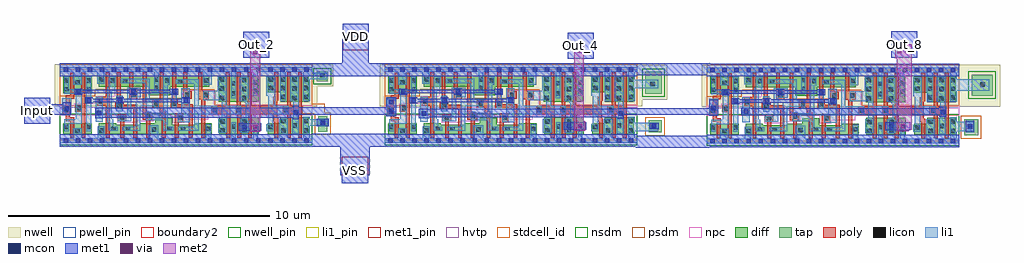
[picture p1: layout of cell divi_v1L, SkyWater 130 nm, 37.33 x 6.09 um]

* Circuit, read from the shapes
.subckt divi_v1L Input Out_2 Out_4 Out_8 VDD VSS
XM1 VSS Input n1 VSS sky130_fd_pr__nfet_01v8 w=0.42 l=0.15
XM2 n2 n1 VSS VSS sky130_fd_pr__nfet_01v8 w=0.42 l=0.15
XM3 n3 sky130_fd_sc_hd__dfxbp_2_1/CLK VSS VSS sky130_fd_pr__nfet_01v8 w=0.42 l=0.15
XM4 n4 n1 n3 VSS sky130_fd_pr__nfet_01v8 w=0.36 l=0.15
XM5 n5 n2 n4 VSS sky130_fd_pr__nfet_01v8 w=0.36 l=0.15
XM6 VSS n6 n5 VSS sky130_fd_pr__nfet_01v8 w=0.42 l=0.15
XM7 n6 n4 VSS VSS sky130_fd_pr__nfet_01v8 w=0.64 l=0.15
XM8 n7 n2 n6 VSS sky130_fd_pr__nfet_01v8 w=0.36 l=0.15
XM9 n8 n1 n7 VSS sky130_fd_pr__nfet_01v8 w=0.36 l=0.15
XM10 VSS n9 n8 VSS sky130_fd_pr__nfet_01v8 w=0.42 l=0.15
XM11 VSS n7 n9 VSS sky130_fd_pr__nfet_01v8 w=0.65 l=0.15
XM12 Out_2 n9 VSS VSS sky130_fd_pr__nfet_01v8 w=0.65 l=0.15 m=2
XM13 VSS n9 n10 VSS sky130_fd_pr__nfet_01v8 w=0.42 l=0.15
XM14 sky130_fd_sc_hd__dfxbp_2_1/CLK n10 VSS VSS sky130_fd_pr__nfet_01v8 w=0.65 l=0.15 m=2
XM15 VSS sky130_fd_sc_hd__dfxbp_2_1/CLK n11 VSS sky130_fd_pr__nfet_01v8 w=0.42 l=0.15
XM16 n12 n11 VSS VSS sky130_fd_pr__nfet_01v8 w=0.42 l=0.15
XM17 n13 sky130_fd_sc_hd__dfxbp_2_2/CLK VSS VSS sky130_fd_pr__nfet_01v8 w=0.42 l=0.15
XM18 n14 n11 n13 VSS sky130_fd_pr__nfet_01v8 w=0.36 l=0.15
XM19 n15 n12 n14 VSS sky130_fd_pr__nfet_01v8 w=0.36 l=0.15
XM20 VSS n16 n15 VSS sky130_fd_pr__nfet_01v8 w=0.42 l=0.15
XM21 n16 n14 VSS VSS sky130_fd_pr__nfet_01v8 w=0.64 l=0.15
XM22 n17 n12 n16 VSS sky130_fd_pr__nfet_01v8 w=0.36 l=0.15
XM23 n18 n11 n17 VSS sky130_fd_pr__nfet_01v8 w=0.36 l=0.15
XM24 VSS n19 n18 VSS sky130_fd_pr__nfet_01v8 w=0.42 l=0.15
XM25 VSS n17 n19 VSS sky130_fd_pr__nfet_01v8 w=0.65 l=0.15
XM26 Out_4 n19 VSS VSS sky130_fd_pr__nfet_01v8 w=0.65 l=0.15 m=2
XM27 VSS n19 n20 VSS sky130_fd_pr__nfet_01v8 w=0.42 l=0.15
XM28 sky130_fd_sc_hd__dfxbp_2_2/CLK n20 VSS VSS sky130_fd_pr__nfet_01v8 w=0.65 l=0.15 m=2
XM29 VSS sky130_fd_sc_hd__dfxbp_2_2/CLK n21 VSS sky130_fd_pr__nfet_01v8 w=0.42 l=0.15
XM30 n22 n21 VSS VSS sky130_fd_pr__nfet_01v8 w=0.42 l=0.15
XM31 n23 sky130_fd_sc_hd__dfxbp_2_2/D VSS VSS sky130_fd_pr__nfet_01v8 w=0.42 l=0.15
XM32 n24 n21 n23 VSS sky130_fd_pr__nfet_01v8 w=0.36 l=0.15
XM33 n25 n22 n24 VSS sky130_fd_pr__nfet_01v8 w=0.36 l=0.15
XM34 VSS n26 n25 VSS sky130_fd_pr__nfet_01v8 w=0.42 l=0.15
XM35 n26 n24 VSS VSS sky130_fd_pr__nfet_01v8 w=0.64 l=0.15
XM36 n27 n22 n26 VSS sky130_fd_pr__nfet_01v8 w=0.36 l=0.15
XM37 n28 n21 n27 VSS sky130_fd_pr__nfet_01v8 w=0.36 l=0.15
XM38 VSS n29 n28 VSS sky130_fd_pr__nfet_01v8 w=0.42 l=0.15
XM39 VSS n27 n29 VSS sky130_fd_pr__nfet_01v8 w=0.65 l=0.15
XM40 Out_8 n29 VSS VSS sky130_fd_pr__nfet_01v8 w=0.65 l=0.15 m=2
XM41 VSS n29 n30 VSS sky130_fd_pr__nfet_01v8 w=0.42 l=0.15
XM42 sky130_fd_sc_hd__dfxbp_2_2/D n30 VSS VSS sky130_fd_pr__nfet_01v8 w=0.65 l=0.15 m=2
XM43 VDD Input n1 VDD sky130_fd_pr__pfet_01v8_hvt w=0.64 l=0.15
XM44 n2 n1 VDD VDD sky130_fd_pr__pfet_01v8_hvt w=0.64 l=0.15
XM45 n3 sky130_fd_sc_hd__dfxbp_2_1/CLK VDD VDD sky130_fd_pr__pfet_01v8_hvt w=0.42 l=0.15
XM46 n4 n2 n3 VDD sky130_fd_pr__pfet_01v8_hvt w=0.42 l=0.15
XM47 n31 n1 n4 VDD sky130_fd_pr__pfet_01v8_hvt w=0.42 l=0.15
XM48 VDD n6 n31 VDD sky130_fd_pr__pfet_01v8_hvt w=0.42 l=0.15
XM49 n6 n4 VDD VDD sky130_fd_pr__pfet_01v8_hvt w=0.75 l=0.15
XM50 n7 n1 n6 VDD sky130_fd_pr__pfet_01v8_hvt w=0.42 l=0.15
XM51 n32 n2 n7 VDD sky130_fd_pr__pfet_01v8_hvt w=0.42 l=0.15
XM52 VDD n9 n32 VDD sky130_fd_pr__pfet_01v8_hvt w=0.42 l=0.15
XM53 VDD n7 n9 VDD sky130_fd_pr__pfet_01v8_hvt w=1 l=0.15
XM54 Out_2 n9 VDD VDD sky130_fd_pr__pfet_01v8_hvt w=1 l=0.15 m=2
XM55 VDD n9 n10 VDD sky130_fd_pr__pfet_01v8_hvt w=0.64 l=0.15
XM56 sky130_fd_sc_hd__dfxbp_2_1/CLK n10 VDD VDD sky130_fd_pr__pfet_01v8_hvt w=1 l=0.15 m=2
XM57 VDD sky130_fd_sc_hd__dfxbp_2_1/CLK n11 VDD sky130_fd_pr__pfet_01v8_hvt w=0.64 l=0.15
XM58 n12 n11 VDD VDD sky130_fd_pr__pfet_01v8_hvt w=0.64 l=0.15
XM59 n13 sky130_fd_sc_hd__dfxbp_2_2/CLK VDD VDD sky130_fd_pr__pfet_01v8_hvt w=0.42 l=0.15
XM60 n14 n12 n13 VDD sky130_fd_pr__pfet_01v8_hvt w=0.42 l=0.15
XM61 n33 n11 n14 VDD sky130_fd_pr__pfet_01v8_hvt w=0.42 l=0.15
XM62 VDD n16 n33 VDD sky130_fd_pr__pfet_01v8_hvt w=0.42 l=0.15
XM63 n16 n14 VDD VDD sky130_fd_pr__pfet_01v8_hvt w=0.75 l=0.15
XM64 n17 n11 n16 VDD sky130_fd_pr__pfet_01v8_hvt w=0.42 l=0.15
XM65 n34 n12 n17 VDD sky130_fd_pr__pfet_01v8_hvt w=0.42 l=0.15
XM66 VDD n19 n34 VDD sky130_fd_pr__pfet_01v8_hvt w=0.42 l=0.15
XM67 VDD n17 n19 VDD sky130_fd_pr__pfet_01v8_hvt w=1 l=0.15
XM68 Out_4 n19 VDD VDD sky130_fd_pr__pfet_01v8_hvt w=1 l=0.15 m=2
XM69 VDD n19 n20 VDD sky130_fd_pr__pfet_01v8_hvt w=0.64 l=0.15
XM70 sky130_fd_sc_hd__dfxbp_2_2/CLK n20 VDD VDD sky130_fd_pr__pfet_01v8_hvt w=1 l=0.15 m=2
XM71 VDD sky130_fd_sc_hd__dfxbp_2_2/CLK n21 VDD sky130_fd_pr__pfet_01v8_hvt w=0.64 l=0.15
XM72 n22 n21 VDD VDD sky130_fd_pr__pfet_01v8_hvt w=0.64 l=0.15
XM73 n23 sky130_fd_sc_hd__dfxbp_2_2/D VDD VDD sky130_fd_pr__pfet_01v8_hvt w=0.42 l=0.15
XM74 n24 n22 n23 VDD sky130_fd_pr__pfet_01v8_hvt w=0.42 l=0.15
XM75 n35 n21 n24 VDD sky130_fd_pr__pfet_01v8_hvt w=0.42 l=0.15
XM76 VDD n26 n35 VDD sky130_fd_pr__pfet_01v8_hvt w=0.42 l=0.15
XM77 n26 n24 VDD VDD sky130_fd_pr__pfet_01v8_hvt w=0.75 l=0.15
XM78 n27 n21 n26 VDD sky130_fd_pr__pfet_01v8_hvt w=0.42 l=0.15
XM79 n36 n22 n27 VDD sky130_fd_pr__pfet_01v8_hvt w=0.42 l=0.15
XM80 VDD n29 n36 VDD sky130_fd_pr__pfet_01v8_hvt w=0.42 l=0.15
XM81 VDD n27 n29 VDD sky130_fd_pr__pfet_01v8_hvt w=1 l=0.15
XM82 Out_8 n29 VDD VDD sky130_fd_pr__pfet_01v8_hvt w=1 l=0.15 m=2
XM83 VDD n29 n30 VDD sky130_fd_pr__pfet_01v8_hvt w=0.64 l=0.15
XM84 sky130_fd_sc_hd__dfxbp_2_2/D n30 VDD VDD sky130_fd_pr__pfet_01v8_hvt w=1 l=0.15 m=2
.ends

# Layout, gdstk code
import gdstk
lib = gdstk.Library(unit=1e-6, precision=1e-09)
def R(c, l, rs):  # rectangles x0, y0, x1, y1
    for r in rs: c.add(gdstk.rectangle(r[:2], r[2:], *l))
def A(c, l, x, y, w, h, nx, ny, dx, dy):  # array of equal rectangles
    R(c, l, [(x+i*dx, y+j*dy, x+i*dx+w, y+j*dy+h) for i in range(nx) for j in range(ny)])
def P(c, l, *ps):  # polygons
    for p in ps: c.add(gdstk.Polygon(p, *l))
nwell_pin = (64, 16)
nwell = (64, 20)
diff = (65, 20)
tap = (65, 44)
poly = (66, 20)
licon = (66, 44)
li1_pin = (67, 16)
li1 = (67, 20)
mcon = (67, 44)
met1_pin = (68, 16)
met1 = (68, 20)
via = (68, 44)
met2 = (69, 20)
hvtp = (78, 44)
stdcell_id = (81, 4)
nsdm = (93, 44)
psdm = (94, 20)
npc = (95, 20)
pwell_pin = (122, 16)
boundary2 = (236, 0)

sky130_fd_sc_hd__dfxbp_2 = lib.new_cell('sky130_fd_sc_hd__dfxbp_2')
R(sky130_fd_sc_hd__dfxbp_2, nwell_pin, [(0.145,2.635,0.315,2.805), (0.145,2.635,0.315,2.805)])
R(sky130_fd_sc_hd__dfxbp_2, nwell, [(-0.19,1.305,9.85,2.91)])
R(sky130_fd_sc_hd__dfxbp_2, diff, [(0.135,0.235,1.225,0.655), (6.1,0.235,7.61,0.885), (6.08,1.485,7.6,2.485), (0.135,1.815,1.225,2.455)])
P(sky130_fd_sc_hd__dfxbp_2, diff, [(5.71,2.485),(1.495,2.485),(1.495,2.065),(3.395,2.065),(3.395,1.735),(4.23,1.735),(4.23,2.065),(5.71,2.065)],
  [(5.82,0.655),(5.16,0.655),(5.16,0.595),(4.3,0.595),(4.3,0.875),(3.65,0.875),(3.65,0.655),(3.055,0.655),(3.055,0.595),(2.155,0.595),(2.155,0.655),(1.495,0.655),(1.495,0.235),(5.82,0.235)],
  [(9.525,2.485),(7.945,2.485),(7.945,1.845),(8.43,1.845),(8.43,1.485),(9.525,1.485)],
  [(9.525,0.885),(8.43,0.885),(8.43,0.655),(7.945,0.655),(7.945,0.235),(9.525,0.235)])
P(sky130_fd_sc_hd__dfxbp_2, poly, [(0.545,0.88),(0.38,0.88),(0.38,1.59),(0.545,1.59),(0.545,2.585),(0.395,2.585),(0.395,1.74),(0.23,1.74),(0.23,1.325),(0.11,1.325),(0.11,0.995),(0.23,0.995),(0.23,0.73),(0.395,0.73),(0.395,0.105),(0.545,0.105)],
  [(0.965,2.585),(0.815,2.585),(0.815,1.37),(0.59,1.37),(0.59,1.1),(0.815,1.1),(0.815,0.105),(0.965,0.105)],
  [(1.905,2.615),(1.755,2.615),(1.755,1.665),(1.43,1.665),(1.43,1.335),(1.755,1.335),(1.755,0.105),(1.905,0.105)],
  [(2.545,1.005),(2.215,1.005),(2.215,0.735),(2.315,0.735),(2.315,0.105),(2.465,0.105),(2.465,0.735),(2.545,0.735)],
  [(2.96,1.905),(2.805,1.905),(2.805,2.615),(2.655,2.615),(2.655,1.575),(2.96,1.575)],
  [(2.96,1.365),(2.445,1.365),(2.445,1.485),(2.33,1.485),(2.33,2.615),(2.18,2.615),(2.18,1.485),(2.115,1.485),(2.115,1.215),(2.81,1.215),(2.81,0.105),(2.96,0.105)],
  [(3.54,1.065),(3.32,1.065),(3.32,2.615),(3.17,2.615),(3.17,0.795),(3.305,0.795),(3.305,0.105),(3.455,0.105),(3.455,0.795),(3.54,0.795)],
  [(4.05,1.1),(3.98,1.1),(3.98,2.615),(3.83,2.615),(3.83,1.545),(3.53,1.545),(3.53,1.275),(3.83,1.275),(3.83,0.95),(3.9,0.95),(3.9,0.105),(4.05,0.105)],
  [(4.725,1.035),(4.405,1.035),(4.405,0.105),(4.555,0.105),(4.555,0.705),(4.725,0.705)],
  [(5.05,1.875),(4.875,1.875),(4.875,2.615),(4.725,2.615),(4.725,1.875),(4.72,1.875),(4.72,1.605),(5.05,1.605)],
  [(5.085,1.395),(4.51,1.395),(4.51,1.575),(4.455,1.575),(4.455,2.615),(4.305,2.615),(4.305,1.575),(4.24,1.575),(4.24,1.245),(4.935,1.245),(4.935,0.105),(5.085,0.105)],
  [(5.7,1.905),(5.445,1.905),(5.445,2.615),(5.295,2.615),(5.295,1.575),(5.41,1.575),(5.41,0.105),(5.56,0.105),(5.56,1.575),(5.7,1.575)],
  [(6.51,1.325),(6.5,1.325),(6.5,2.615),(6.35,2.615),(6.35,1.325),(5.8,1.325),(5.8,0.995),(6.36,0.995),(6.36,0.105),(6.51,0.105)],
  [(8.355,0.85),(8.31,0.85),(8.31,1.515),(8.355,1.515),(8.355,2.615),(8.205,2.615),(8.205,1.665),(8.16,1.665),(8.16,1.325),(7.34,1.325),(7.34,2.615),(7.19,2.615),(7.19,1.325),(6.92,1.325),(6.92,2.615),(6.77,2.615),(6.77,1.325),(6.72,1.325),(6.72,0.995),(6.78,0.995),(6.78,0.105),(6.93,0.105),(6.93,0.995),(7.2,0.995),(7.2,0.105),(7.35,0.105),(7.35,0.995),(8.16,0.995),(8.16,0.73),(8.205,0.73),(8.205,0.105),(8.355,0.105)],
  [(9.26,2.615),(9.11,2.615),(9.11,1.325),(8.84,1.325),(8.84,2.615),(8.69,2.615),(8.69,1.325),(8.52,1.325),(8.52,0.995),(8.69,0.995),(8.69,0.105),(8.84,0.105),(8.84,0.995),(9.11,0.995),(9.11,0.105),(9.26,0.105)])
A(sky130_fd_sc_hd__dfxbp_2, licon, 6.12, 1.545, 0.17, 0.17, 1, 3, 0, 0.355)
A(sky130_fd_sc_hd__dfxbp_2, licon, 6.97, 1.545, 0.17, 0.17, 1, 3, 0, 0.34)
A(sky130_fd_sc_hd__dfxbp_2, licon, 8.89, 1.545, 0.17, 0.17, 1, 3, 0, 0.355)
A(sky130_fd_sc_hd__dfxbp_2, licon, 8.47, 1.575, 0.17, 0.17, 1, 3, 0, 0.34)
A(sky130_fd_sc_hd__dfxbp_2, licon, 9.315, 1.575, 0.17, 0.17, 1, 3, 0, 0.34)
R(sky130_fd_sc_hd__dfxbp_2, licon, [(0.595,0.295,0.765,0.465), (1.535,0.295,1.705,0.465), (8.47,0.295,8.64,0.465), (9.315,0.295,9.485,0.465), (6.14,0.3,6.31,0.47), (6.98,0.31,7.15,0.48), (3.51,0.335,3.68,0.505), (7.4,0.35,7.57,0.52), (1.96,0.365,2.13,0.535), (2.515,0.365,2.685,0.535), (4.105,0.365,4.275,0.535), (4.62,0.365,4.79,0.535), (5.61,0.365,5.78,0.535), (0.175,0.425,0.345,0.595), (1.015,0.425,1.185,0.595), (7.985,0.425,8.155,0.595), (6.56,0.445,6.73,0.615), (8.89,0.485,9.06,0.655), (6.14,0.64,6.31,0.81), (6.98,0.65,7.15,0.82), (8.47,0.655,8.64,0.825), (9.315,0.655,9.485,0.825), (2.295,0.785,2.465,0.955), (4.505,0.785,4.675,0.955), (3.29,0.845,3.46,1.015), (0.16,1.075,0.33,1.245), (5.85,1.075,6.02,1.245), (6.77,1.075,6.94,1.245), (8.59,1.075,8.76,1.245), (0.67,1.15,0.84,1.32), (2.195,1.265,2.365,1.435), (3.61,1.325,3.78,1.495), (4.29,1.325,4.46,1.495), (1.48,1.415,1.65,1.585), (2.74,1.655,2.91,1.825), (4.8,1.655,4.97,1.825), (5.48,1.655,5.65,1.825), (6.55,1.705,6.72,1.875), (7.39,1.8,7.56,1.97), (0.175,1.875,0.345,2.045), (1.015,1.875,1.185,2.045), (3.61,1.915,3.78,2.085), (7.985,1.915,8.155,2.085), (6.55,2.105,6.72,2.275), (0.595,2.135,0.765,2.305), (7.39,2.14,7.56,2.31), (4.505,2.165,4.675,2.335), (2.415,2.19,2.585,2.36), (0.175,2.215,0.345,2.385), (1.015,2.215,1.185,2.385), (1.955,2.215,2.125,2.385), (4.03,2.215,4.2,2.385), (5.5,2.215,5.67,2.385), (1.535,2.255,1.705,2.425), (3.61,2.255,3.78,2.425), (7.985,2.255,8.155,2.425)])
R(sky130_fd_sc_hd__dfxbp_2, li1_pin, [(6.95,0.425,7.12,0.595), (0.145,1.105,0.315,1.275), (1.445,1.105,1.615,1.275), (8.845,1.52,9.015,1.69)])
R(sky130_fd_sc_hd__dfxbp_2, li1, [(1.015,0.345,1.2,2.465), (1.37,0.715,1.65,1.665), (0.09,0.975,0.44,1.625), (2.16,1.125,2.4,1.72), (4.29,1.245,4.48,1.965)])
P(sky130_fd_sc_hd__dfxbp_2, li1, [(0.84,1.965),(0.345,1.965),(0.345,2.465),(0.175,2.465),(0.175,1.795),(0.61,1.795),(0.61,0.805),(0.175,0.805),(0.175,0.345),(0.345,0.345),(0.345,0.635),(0.84,0.635)],
  [(2.21,0.535),(2.045,0.535),(2.045,0.805),(1.99,0.805),(1.99,1.91),(2.125,1.91),(2.125,2.465),(1.875,2.465),(1.875,2.04),(1.82,2.04),(1.82,0.675),(1.875,0.675),(1.875,0.365),(2.21,0.365)],
  [(3.1,2.02),(2.57,2.02),(2.57,0.955),(2.215,0.955),(2.215,0.735),(2.74,0.735),(2.74,1.655),(3.1,1.655)],
  [(3.78,1.575),(3.44,1.575),(3.44,2.36),(2.335,2.36),(2.335,2.19),(3.27,2.19),(3.27,1.485),(2.91,1.485),(2.91,0.535),(2.405,0.535),(2.405,0.365),(3.08,0.365),(3.08,1.315),(3.61,1.315),(3.61,1.245),(3.78,1.245)],
  [(4.355,0.535),(4.12,0.535),(4.12,2.135),(4.2,2.135),(4.2,2.465),(3.95,2.465),(3.95,1.065),(3.49,1.065),(3.49,1.095),(3.29,1.095),(3.29,0.765),(3.95,0.765),(3.95,0.365),(4.355,0.365)],
  [(4.97,1.995),(4.65,1.995),(4.65,1.035),(4.505,1.035),(4.505,0.705),(4.97,0.705)],
  [(6.02,1.325),(5.31,1.325),(5.31,2.335),(4.425,2.335),(4.425,2.165),(5.14,2.165),(5.14,0.535),(4.525,0.535),(4.525,0.365),(5.31,0.365),(5.31,0.995),(6.02,0.995)],
  [(9.66,0.085),(9.565,0.085),(9.565,0.905),(9.315,0.905),(9.315,0.085),(8.72,0.085),(8.72,0.825),(8.39,0.825),(8.39,0.085),(7.57,0.085),(7.57,0.6),(7.4,0.6),(7.4,0.085),(6.73,0.085),(6.73,0.695),(6.56,0.695),(6.56,0.085),(5.795,0.085),(5.795,0.615),(5.585,0.615),(5.585,0.085),(3.77,0.085),(3.77,0.585),(3.4,0.585),(3.4,0.085),(1.705,0.085),(1.705,0.545),(1.455,0.545),(1.455,0.085),(0.845,0.085),(0.845,0.465),(0.515,0.465),(0.515,0.085),(0,0.085),(0,-0.085),(9.66,-0.085)],
  [(6.94,1.325),(6.38,1.325),(6.38,2.465),(6.04,2.465),(6.04,1.905),(5.48,1.905),(5.48,1.53),(6.19,1.53),(6.19,0.825),(6.06,0.825),(6.06,0.3),(6.39,0.3),(6.39,0.995),(6.94,0.995)],
  [(7.3,1.575),(7.22,1.575),(7.22,2.42),(6.89,2.42),(6.89,1.495),(7.065,1.495),(7.065,1.445),(7.11,1.445),(7.11,0.865),(7.055,0.865),(7.055,0.825),(6.9,0.825),(6.9,0.305),(7.23,0.305),(7.23,0.74),(7.3,0.74)],
  [(8.76,1.325),(8.235,1.325),(8.235,2.445),(7.905,2.445),(7.905,1.715),(7.965,1.715),(7.965,0.615),(7.905,0.615),(7.905,0.345),(8.165,0.345),(8.165,0.995),(8.76,0.995)],
  [(9.145,2.465),(8.81,2.465),(8.81,1.495),(8.93,1.495),(8.93,0.885),(8.89,0.885),(8.89,0.265),(9.145,0.265)],
  [(9.66,2.805),(0,2.805),(0,2.635),(0.515,2.635),(0.515,2.135),(0.845,2.135),(0.845,2.635),(1.44,2.635),(1.44,2.175),(1.705,2.175),(1.705,2.635),(3.61,2.635),(3.61,1.835),(3.78,1.835),(3.78,2.635),(5.49,2.635),(5.49,2.135),(5.805,2.135),(5.805,2.635),(6.55,2.635),(6.55,1.625),(6.72,1.625),(6.72,2.635),(7.39,2.635),(7.39,1.72),(7.565,1.72),(7.565,2.635),(8.425,2.635),(8.425,1.495),(8.64,1.495),(8.64,2.635),(9.315,2.635),(9.315,1.495),(9.565,1.495),(9.565,2.635),(9.66,2.635)])
A(sky130_fd_sc_hd__dfxbp_2, mcon, 0.145, -0.085, 0.17, 0.17, 21, 2, 0.46, 2.72)
R(sky130_fd_sc_hd__dfxbp_2, mcon, [(1.025,1.445,1.195,1.615), (2.215,1.445,2.385,1.615), (4.735,1.445,4.905,1.615), (0.63,1.785,0.8,1.955), (2.73,1.785,2.9,1.955), (4.3,1.785,4.47,1.955)])
R(sky130_fd_sc_hd__dfxbp_2, met1_pin, [(0.145,-0.085,0.315,0.085), (0.145,2.635,0.315,2.805)])
R(sky130_fd_sc_hd__dfxbp_2, met1, [(0,-0.24,9.66,0.24), (0,2.48,9.66,2.96)])
P(sky130_fd_sc_hd__dfxbp_2, met1, [(4.53,1.985),(4.24,1.985),(4.24,1.94),(2.96,1.94),(2.96,1.985),(2.67,1.985),(2.67,1.94),(0.86,1.94),(0.86,1.985),(0.57,1.985),(0.57,1.755),(0.86,1.755),(0.86,1.8),(2.67,1.8),(2.67,1.755),(2.96,1.755),(2.96,1.8),(4.24,1.8),(4.24,1.755),(4.53,1.755)],
  [(4.965,1.645),(4.675,1.645),(4.675,1.6),(2.445,1.6),(2.445,1.645),(2.155,1.645),(2.155,1.6),(1.255,1.6),(1.255,1.645),(0.965,1.645),(0.965,1.415),(1.255,1.415),(1.255,1.46),(2.155,1.46),(2.155,1.415),(2.445,1.415),(2.445,1.46),(4.675,1.46),(4.675,1.415),(4.965,1.415)])
R(sky130_fd_sc_hd__dfxbp_2, hvtp, [(0,1.25,9.66,2.72)])
R(sky130_fd_sc_hd__dfxbp_2, stdcell_id, [(0,0,9.66,2.72)])
R(sky130_fd_sc_hd__dfxbp_2, nsdm, [(0,-0.19,9.66,1.015)])
P(sky130_fd_sc_hd__dfxbp_2, psdm, [(9.66,2.91),(0,2.91),(0,1.685),(1.35,1.685),(1.35,1.935),(3.24,1.935),(3.24,1.605),(4.665,1.605),(4.665,1.935),(5.93,1.935),(5.93,1.355),(9.66,1.355)])
P(sky130_fd_sc_hd__dfxbp_2, npc, [(9.66,1.345),(5.91,1.345),(5.91,1.925),(4.675,1.925),(4.675,1.595),(3.085,1.595),(3.085,1.925),(2.095,1.925),(2.095,1.685),(1.38,1.685),(1.38,1.42),(0.565,1.42),(0.565,1.345),(0,1.345),(0,0.975),(2.195,0.975),(2.195,0.685),(2.905,0.685),(2.905,0.745),(3.59,0.745),(3.59,0.975),(4.32,0.975),(4.32,0.685),(4.775,0.685),(4.775,0.795),(5.675,0.795),(5.675,0.975),(9.66,0.975)])
R(sky130_fd_sc_hd__dfxbp_2, pwell_pin, [(0.145,-0.085,0.315,0.085), (0.145,-0.085,0.315,0.085)])
R(sky130_fd_sc_hd__dfxbp_2, boundary2, [(0,0,9.66,2.72)])
sky130_fd_sc_hd__dfxbp_2.add(gdstk.Label('VGND', (0.23,0), layer=68, texttype=5))
sky130_fd_sc_hd__dfxbp_2.add(gdstk.Label('VPWR', (0.23,2.72), layer=68, texttype=5))
sky130_fd_sc_hd__dfxbp_2.add(gdstk.Label('Q_N', (8.94,1.61), layer=67, texttype=5))
sky130_fd_sc_hd__dfxbp_2.add(gdstk.Label('D', (1.535,1.19), layer=67, texttype=5))
sky130_fd_sc_hd__dfxbp_2.add(gdstk.Label('CLK', (0.23,1.19), layer=67, texttype=5))
sky130_fd_sc_hd__dfxbp_2.add(gdstk.Label('Q', (7.035,0.51), layer=67, texttype=5))
sky130_fd_sc_hd__dfxbp_2.add(gdstk.Label('VNB', (0.23,0), layer=64, texttype=59))
sky130_fd_sc_hd__dfxbp_2.add(gdstk.Label('VNB', (0.23,0), layer=64, texttype=59))
sky130_fd_sc_hd__dfxbp_2.add(gdstk.Label('VPB', (0.23,2.72), layer=64, texttype=5))
sky130_fd_sc_hd__dfxbp_2.add(gdstk.Label('VPB', (0.23,2.72), layer=64, texttype=5))
sky130_fd_sc_hd__dfxbp_2.add(gdstk.Label('dfxbp_2', (0,0), layer=83, texttype=44))

divi_v1l = lib.new_cell('divi_v1L')
R(divi_v1l, nwell, [(40.82,-0.01,42.2,1.59), (28.51,0.25,29.47,1.59), (16.09,0.76,16.69,1.6)])
R(divi_v1l, tap, [(40.83,-1.11,41.36,-0.49), (28.76,-1,29.26,-0.54), (16.12,-0.97,16.47,-0.38), (41.11,0.41,41.92,1.21), (28.64,0.48,29.26,1.31), (16.06,0.96,16.49,1.33)])
R(divi_v1l, licon, [(40.97,-0.865,41.14,-0.695), (28.87,-0.85,29.04,-0.68), (16.21,-0.715,16.38,-0.545), (41.44,0.745,41.61,0.915), (28.83,0.765,29,0.935), (16.195,1.1,16.365,1.27)])
R(divi_v1l, li1, [(40.35,-0.96,41.2,-0.59), (28.02,-0.95,29.13,-0.64), (13.15,-0.9,13.46,-0.68), (37.88,-0.88,38.21,-0.64), (25.57,-0.86,25.85,-0.65), (15.7,-0.74,16.51,-0.73), (15.69,-0.73,16.51,-0.54), (15.7,-0.54,16.51,-0.5), (15.18,-0.43,15.35,-0.04), (20.03,-0.42,20.31,-0.14), (27.61,-0.42,27.78,-0.13), (7.63,-0.39,7.84,-0.12), (39.91,-0.35,40.12,-0.08), (18.75,-0.32,19.08,0.29), (32.36,-0.32,32.61,-0.08), (31.1,-0.31,31.4,0.19), (6.38,-0.26,6.63,0.09), (40.32,0.6,41.79,1.04), (28.03,0.68,29.13,1.02), (15.58,1.03,16.46,1.29), (15.58,1.29,15.9,1.5)])
R(divi_v1l, mcon, [(13.22,-0.875,13.39,-0.705), (40.965,-0.86,41.135,-0.69), (37.96,-0.845,38.13,-0.675), (25.625,-0.84,25.795,-0.67), (28.885,-0.84,29.055,-0.67), (16.215,-0.705,16.385,-0.535), (20.085,-0.365,20.255,-0.195), (27.61,-0.36,27.78,-0.19), (7.65,-0.34,7.82,-0.17), (15.18,-0.32,15.35,-0.15), (39.93,-0.3,40.1,-0.13), (32.4,-0.285,32.57,-0.115), (18.83,-0.28,19,-0.11), (6.42,-0.17,6.59,0), (31.165,-0.145,31.335,0.025), (18.83,0.08,19,0.25)])
R(divi_v1l, met1_pin, [(17.03,-2.94,18.03,-1.94), (4.87,-0.67,5.87,0.33), (25.66,1.82,26.66,2.82), (13.25,1.85,14.25,2.85), (38.04,1.86,39.04,2.86), (17.06,2.15,18.06,3.15)])
R(divi_v1l, met1, [(17.03,-2.94,18.03,-2.64), (16.96,-2.64,18.09,-1.55), (28.27,-1.59,31.07,-1.12), (15.9,-1.55,18.78,-1.06), (40.89,-1,41.21,-0.55), (13.09,-0.93,13.95,-0.65), (37.82,-0.91,38.76,-0.61), (25.51,-0.89,26.38,-0.62), (28.8,-0.88,29.14,-0.63), (16.07,-0.77,16.53,-0.47), (4.87,-0.67,5.87,-0.32), (15.15,-0.49,15.38,-0.44), (27.58,-0.48,27.81,-0.43), (7.6,-0.45,7.87,-0.44), (19.97,-0.45,20.37,-0.43), (7.6,-0.44,15.38,-0.33), (19.96,-0.43,27.81,-0.33), (39.88,-0.41,40.15,-0.35), (18.72,-0.38,19.11,-0.33), (31.07,-0.37,31.43,-0.33), (32.3,-0.35,40.15,-0.08), (7.6,-0.33,19.11,-0.05), (19.96,-0.33,31.43,-0.1), (4.87,-0.32,6.66,0.08), (27.58,-0.1,31.43,-0.08), (27.58,-0.08,27.81,-0.07), (31.07,-0.08,31.43,0.25), (32.3,-0.08,32.67,-0.05), (39.88,-0.08,40.15,-0.02), (15.15,-0.05,19.11,-0.03), (15.15,-0.03,15.38,0.02), (18.72,-0.03,19.11,0.35), (4.87,0.08,5.87,0.33), (6.35,0.08,6.66,0.15), (6.23,1.15,28.29,1.65), (28.32,1.18,31.12,1.65), (17.05,1.65,18.05,2.15), (25.66,1.82,26.66,2.82), (13.25,1.85,14.25,2.85), (38.04,1.86,39.04,2.86), (17.05,2.15,18.06,2.57), (17.06,2.57,18.06,3.15)])
R(divi_v1l, via, [(13.635,-0.865,13.785,-0.715), (38.41,-0.835,38.56,-0.685), (26.045,-0.83,26.195,-0.68), (13.635,1.995,13.785,2.145), (38.27,2.03,38.42,2.18), (38.59,2.03,38.74,2.18), (26.025,2.04,26.175,2.19)])
R(divi_v1l, met2, [(13.52,-0.98,13.9,2.3), (38.26,-0.96,38.71,-0.9), (25.91,-0.94,26.33,-0.57), (38.25,-0.9,38.82,1.84), (25.91,-0.57,26.27,2.41), (38.19,1.84,38.82,2.37), (13.53,2.3,13.89,2.34), (25.93,2.41,26.27,2.44)])
R(divi_v1l, nsdm, [(40.985,0.285,42.045,1.335), (28.515,0.355,29.385,1.435), (15.935,0.835,16.615,1.455)])
R(divi_v1l, psdm, [(40.705,-1.235,41.485,-0.365), (28.635,-1.125,29.385,-0.415), (15.995,-1.095,16.595,-0.295), (15.51,-0.295,16.595,-0.255), (15.51,-0.255,16.375,0.05), (15.89,0.05,16.375,0.09)])
divi_v1l.add(gdstk.Reference(sky130_fd_sc_hd__dfxbp_2, (6.24,-1.31)))
divi_v1l.add(gdstk.Reference(sky130_fd_sc_hd__dfxbp_2, (18.66,-1.31)))
divi_v1l.add(gdstk.Reference(sky130_fd_sc_hd__dfxbp_2, (30.98,-1.33)))
divi_v1l.add(gdstk.Label('VDD', (17.56,2.65), layer=68, texttype=5))
divi_v1l.add(gdstk.Label('VSS', (17.53,-2.44), layer=68, texttype=5))
divi_v1l.add(gdstk.Label('Out_2', (13.75,2.35), layer=68, texttype=5))
divi_v1l.add(gdstk.Label('Out_4', (26.16,2.32), layer=68, texttype=5))
divi_v1l.add(gdstk.Label('Out_8', (38.54,2.36), layer=68, texttype=5))
divi_v1l.add(gdstk.Label('Input', (5.37,-0.17), layer=68, texttype=5))

lib.write_gds('divi_v1L.gds')
